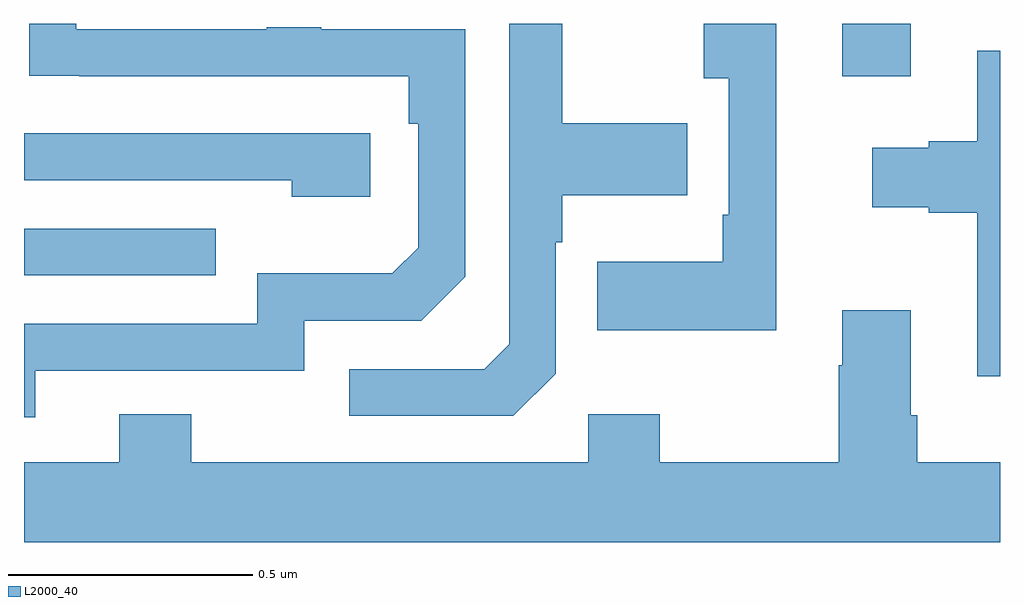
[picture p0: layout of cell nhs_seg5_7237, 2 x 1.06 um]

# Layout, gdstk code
import gdstk
lib = gdstk.Library(unit=1e-6, precision=1e-09)
def R(c, l, rs):  # rectangles x0, y0, x1, y1
    for r in rs: c.add(gdstk.rectangle(r[:2], r[2:], *l))
def P(c, l, *ps):  # polygons
    for p in ps: c.add(gdstk.Polygon(p, *l))
L2000_40 = (2000, 40)

nhs_seg5_7237 = lib.new_cell('nhs_seg5_7237')
R(nhs_seg5_7237, L2000_40, [(206,881.283,206.393,881.379), (207.677,881.691,207.817,881.799)])
P(nhs_seg5_7237, L2000_40, [(206.023,881.088),(206.574,881.088),(206.574,881.19),(206.814,881.19),(206.904,881.28),(206.904,881.787),(206.609,881.787),(206.609,881.792),(206.497,881.792),(206.497,881.787),(206.107,881.787),(206.107,881.799),(206.011,881.799),(206.011,881.692),(206.113,881.692),(206.113,881.691),(206.788,881.691),(206.788,881.594),(206.808,881.594),(206.808,881.34),(206.755,881.287),(206.478,881.287),(206.478,881.184),(206,881.184),(206,880.992),(206.023,880.992)],
  [(207.09,881.082),(207.09,881.351),(207.103,881.351),(207.103,881.447),(207.359,881.447),(207.359,881.595),(207.103,881.595),(207.103,881.799),(206.994,881.799),(206.994,881.142),(206.943,881.091),(206.667,881.091),(206.667,880.995),(207.003,880.995)],
  [(207.542,881.799),(207.393,881.799),(207.393,881.687),(207.444,881.687),(207.444,881.407),(207.432,881.407),(207.432,881.311),(207.175,881.311),(207.175,881.171),(207.542,881.171)],
  [(208,881.743),(207.953,881.743),(207.953,881.558),(207.854,881.558),(207.854,881.545),(207.738,881.545),(207.738,881.423),(207.854,881.423),(207.854,881.411),(207.953,881.411),(207.953,881.076),(208,881.076)],
  [(206.71,881.574),(206,881.574),(206,881.478),(206.549,881.478),(206.549,881.444),(206.71,881.444)],
  [(208,880.9),(207.83,880.9),(207.83,880.996),(207.817,880.996),(207.817,881.212),(207.677,881.212),(207.677,881.099),(207.67,881.099),(207.67,880.9),(207.303,880.9),(207.303,880.999),(207.156,880.999),(207.156,880.9),(206.343,880.9),(206.343,880.999),(206.195,880.999),(206.195,880.9),(206,880.9),(206,880.736),(208,880.736)])

lib.write_gds('nhs_seg5_7237.gds')
